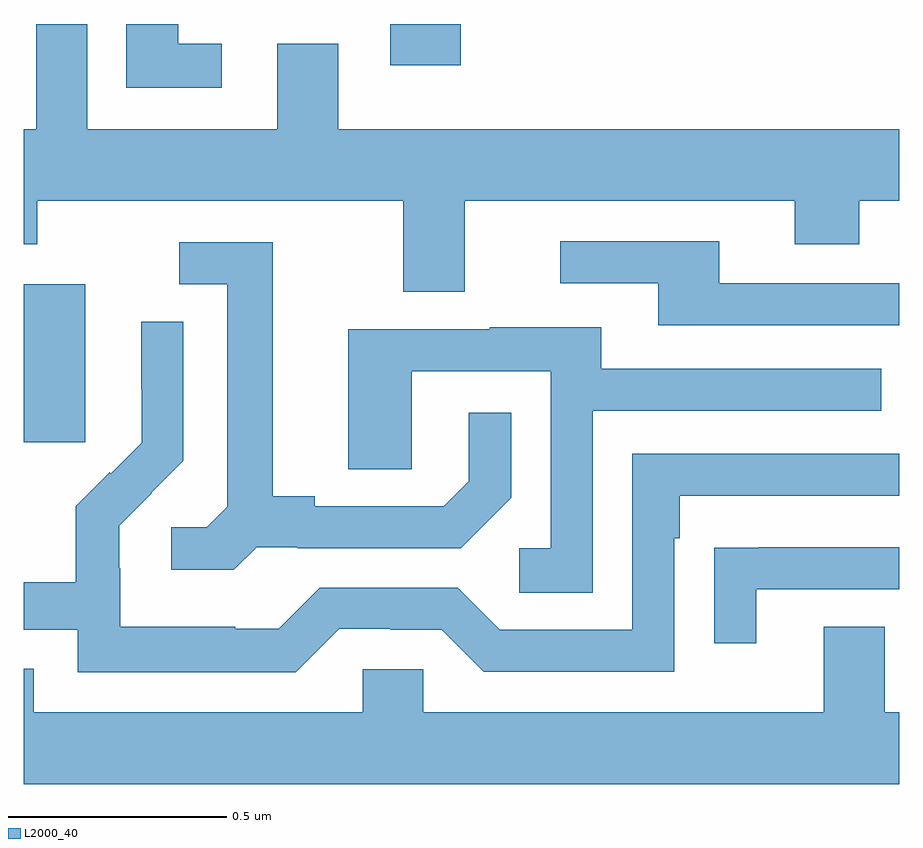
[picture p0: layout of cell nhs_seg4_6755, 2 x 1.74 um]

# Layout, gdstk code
import gdstk
lib = gdstk.Library(unit=1e-6, precision=1e-09)
def R(c, l, rs):  # rectangles x0, y0, x1, y1
    for r in rs: c.add(gdstk.rectangle(r[:2], r[2:], *l))
def P(c, l, *ps):  # polygons
    for p in ps: c.add(gdstk.Polygon(p, *l))
L2000_40 = (2000, 40)

nhs_seg4_6755 = lib.new_cell('nhs_seg4_6755')
R(nhs_seg4_6755, L2000_40, [(194,786.945,194.14,787.306), (194.837,787.806,194.998,787.9)])
P(nhs_seg4_6755, L2000_40, [(195.007,787.496),(195.761,787.496),(195.761,787.397),(195.909,787.397),(195.909,787.496),(196,787.496),(196,787.66),(194.719,787.66),(194.719,787.855),(194.579,787.855),(194.579,787.66),(194.145,787.66),(194.145,787.9),(194.029,787.9),(194.029,787.66),(194,787.66),(194,787.397),(194.031,787.397),(194.031,787.496),(194.867,787.496),(194.867,787.288),(195.007,787.288)],
  [(194.452,787.855),(194.353,787.855),(194.353,787.9),(194.234,787.9),(194.234,787.754),(194.452,787.754)],
  [(196,787.308),(195.589,787.308),(195.589,787.404),(195.225,787.404),(195.225,787.308),(195.449,787.308),(195.449,787.212),(196,787.212)],
  [(194.532,786.705),(194.626,786.705),(194.626,786.702),(194.998,786.702),(195.114,786.818),(195.114,787.012),(195.017,787.012),(195.017,786.855),(194.96,786.798),(194.665,786.798),(194.665,786.821),(194.569,786.821),(194.569,787.401),(194.355,787.401),(194.355,787.305),(194.465,787.305),(194.465,786.797),(194.418,786.75),(194.337,786.75),(194.337,786.653),(194.48,786.653)],
  [(194.721,786.519),(194.837,786.519),(194.837,786.516),(194.955,786.516),(195.051,786.42),(195.486,786.42),(195.486,786.725),(195.499,786.725),(195.499,786.822),(196,786.822),(196,786.918),(195.39,786.918),(195.39,786.516),(195.087,786.516),(194.991,786.612),(194.676,786.612),(194.583,786.519),(194.483,786.519),(194.483,786.523),(194.22,786.523),(194.22,786.657),(194.218,786.657),(194.218,786.754),(194.292,786.828),(194.291,786.829),(194.364,786.902),(194.364,787.22),(194.268,787.22),(194.268,787.066),(194.27,787.066),(194.27,786.944),(194.199,786.873),(194.196,786.876),(194.119,786.799),(194.119,786.625),(194,786.625),(194,786.516),(194.124,786.516),(194.124,786.419),(194.621,786.419)],
  [(195.3,787.017),(195.959,787.017),(195.959,787.113),(195.319,787.113),(195.319,787.207),(195.065,787.207),(195.065,787.203),(194.741,787.203),(194.741,786.883),(194.886,786.883),(194.886,787.107),(195.204,787.107),(195.204,786.702),(195.132,786.702),(195.132,786.601),(195.3,786.601)],
  [(195.673,786.609),(196,786.609),(196,786.705),(195.679,786.705),(195.679,786.704),(195.577,786.704),(195.577,786.486),(195.673,786.486)],
  [(196,786.328),(195.967,786.328),(195.967,786.523),(195.827,786.523),(195.827,786.328),(194.913,786.328),(194.913,786.426),(194.775,786.426),(194.775,786.328),(194.023,786.328),(194.023,786.427),(194,786.427),(194,786.164),(196,786.164)])

lib.write_gds('nhs_seg4_6755.gds')
